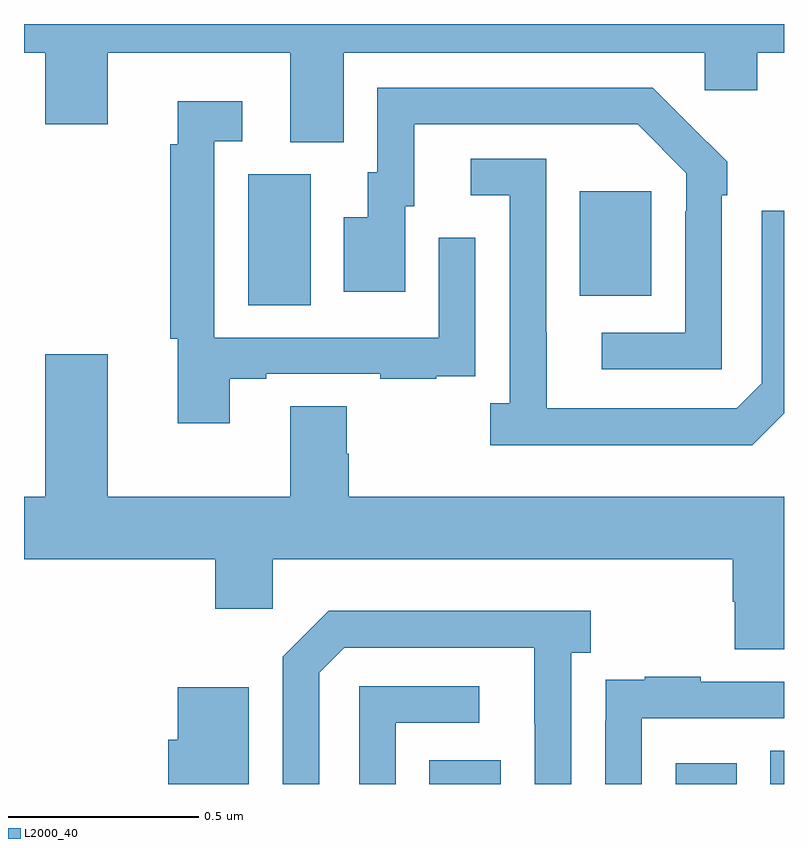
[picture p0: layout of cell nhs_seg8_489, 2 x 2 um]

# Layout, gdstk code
import gdstk
lib = gdstk.Library(unit=1e-6, precision=1e-09)
def R(c, l, rs):  # rectangles x0, y0, x1, y1
    for r in rs: c.add(gdstk.rectangle(r[:2], r[2:], *l))
def P(c, l, *ps):  # polygons
    for p in ps: c.add(gdstk.Polygon(p, *l))
L2000_40 = (2000, 40)

nhs_seg8_489 = lib.new_cell('nhs_seg8_489')
R(nhs_seg8_489, L2000_40, [(118.067,1123.9,118.255,1123.963), (118.715,1123.9,118.876,1123.954), (118.964,1123.9,119,1123.988), (117.59,1125.16,117.754,1125.504), (118.463,1125.185,118.651,1125.46)])
P(nhs_seg8_489, L2000_40, [(117.841,1125.824),(118.791,1125.824),(118.791,1125.726),(118.93,1125.726),(118.93,1125.824),(119,1125.824),(119,1125.9),(117,1125.9),(117,1125.824),(117.056,1125.824),(117.056,1125.636),(117.22,1125.636),(117.22,1125.824),(117.701,1125.824),(117.701,1125.589),(117.841,1125.589)],
  [(118.836,1125.449),(118.851,1125.449),(118.851,1125.537),(118.746,1125.642),(118.745,1125.641),(118.654,1125.732),(117.93,1125.732),(117.93,1125.51),(117.905,1125.51),(117.905,1125.391),(117.842,1125.391),(117.842,1125.195),(118.003,1125.195),(118.003,1125.42),(118.027,1125.42),(118.027,1125.636),(118.615,1125.636),(118.743,1125.507),(118.743,1125.407),(118.74,1125.407),(118.74,1125.087),(118.521,1125.087),(118.521,1124.991),(118.836,1124.991)],
  [(117.541,1124.967),(117.637,1124.967),(117.637,1124.979),(117.937,1124.979),(117.937,1124.967),(118.085,1124.967),(118.085,1124.973),(118.187,1124.973),(118.187,1125.082),(118.188,1125.082),(118.188,1125.337),(118.092,1125.337),(118.092,1125.075),(117.501,1125.075),(117.501,1125.591),(117.574,1125.591),(117.574,1125.697),(117.404,1125.697),(117.404,1125.584),(117.385,1125.584),(117.385,1125.072),(117.404,1125.072),(117.404,1124.85),(117.541,1124.85)],
  [(119,1124.876),(119,1125.409),(118.941,1125.409),(118.941,1124.955),(118.875,1124.889),(118.375,1124.889),(118.375,1125.089),(118.374,1125.089),(118.374,1125.546),(118.176,1125.546),(118.176,1125.45),(118.278,1125.45),(118.278,1124.902),(118.227,1124.902),(118.227,1124.792),(118.916,1124.792)],
  [(119,1124.656),(117.854,1124.656),(117.854,1124.769),(117.849,1124.769),(117.849,1124.894),(117.701,1124.894),(117.701,1124.656),(117.22,1124.656),(117.22,1125.031),(117.056,1125.031),(117.056,1124.656),(117,1124.656),(117,1124.492),(117.503,1124.492),(117.503,1124.361),(117.654,1124.361),(117.654,1124.492),(118.865,1124.492),(118.865,1124.379),(118.87,1124.379),(118.87,1124.254),(119,1124.254)],
  [(117.777,1124.193),(117.843,1124.259),(118.343,1124.259),(118.343,1124.059),(118.344,1124.059),(118.344,1123.9),(118.44,1123.9),(118.44,1124.246),(118.492,1124.246),(118.492,1124.356),(117.802,1124.356),(117.681,1124.235),(117.681,1123.9),(117.777,1123.9)],
  [(118.626,1124.073),(119,1124.073),(119,1124.169),(118.781,1124.169),(118.781,1124.182),(118.633,1124.182),(118.633,1124.175),(118.531,1124.175),(118.531,1124.066),(118.53,1124.066),(118.53,1123.9),(118.626,1123.9)],
  [(117.978,1124.061),(118.198,1124.061),(118.198,1124.157),(117.882,1124.157),(117.882,1123.9),(117.978,1123.9)],
  [(117.592,1124.155),(117.404,1124.155),(117.404,1124.016),(117.38,1124.016),(117.38,1123.9),(117.592,1123.9)])

lib.write_gds('nhs_seg8_489.gds')
